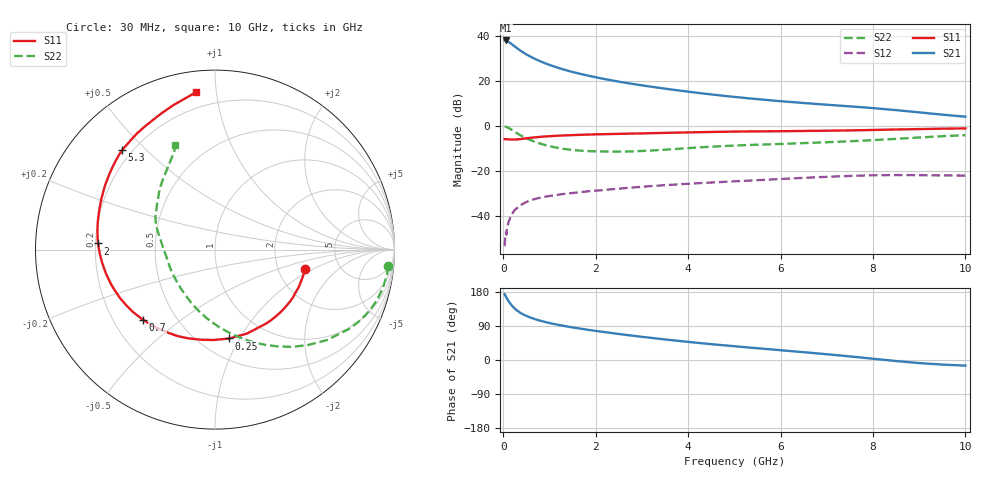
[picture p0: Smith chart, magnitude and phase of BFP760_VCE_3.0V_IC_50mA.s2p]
! Infineon Technologies  Discrete & RF Semiconductors
! BFP760
! VCE =  3.0 V,  IC =  50 mA
! Common Emitter S-Parameters:  Nov 2012
# GHz  S  MA  R  50
!  f  S11  S21  S12  S22
! GHz  MAG  ANG  MAG  ANG  MAG  ANG  MAG  ANG
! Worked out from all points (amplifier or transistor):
!   99 points, 30 MHz to 10 GHz, reference 50 ohm
!   highest |S21| = 38.2 dB at 50 MHz (marker M1)
!   |S21| within 3 dB of that: start of sweep to 271.1 MHz
!   unconditionally stable (mu >= 1): 3.689 GHz to end of sweep
!   at 350 MHz: K = 0.37, MSG = 34.7 dB, |S12| = -35.5 dB
!   at 3.5 GHz: K = 0.99, MSG = 21.5 dB, |S12| = -26.4 dB
!   at 10 GHz: K = 1.05, MAG = 11.7 dB, |S12| = -22.1 dB
!   S11 on the Smith chart (normalised r, x): 30 MHz: 2.81, -0.83; 250 MHz: 0.68, -0.91; 700 MHz: 0.32, -0.37; 2 GHz: 0.21, +0.03; 5.3 GHz: 0.16, +0.42; 10 GHz: 0.11, +0.88
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0.03  0.5106 -12.3  80.81 173.7  0.0021 86.7  0.9667 -5.5
0.05  0.5109 -19.9  80.82 168.8  0.0036 89.0  0.9645 -10.0
0.07  0.5086 -27.6  79.64 164.4  0.0038 81.7  0.9527 -14.7
0.1  0.5064 -38.8  76.67 158.3  0.0062 74.2  0.9269 -21.3
0.14  0.502 -52.1  72.13 151.0  0.0083 71.0  0.8773 -29.1
0.2  0.5006 -69.2  64.99 141.8  0.0113 65.3  0.8014 -39.0
0.25  0.5015 -80.9  59.44 135.7  0.0135 62.9  0.7412 -45.9
0.3  0.5037 -90.9  54.3 130.5  0.0148 59.1  0.6888 -51.9
0.35  0.5089 -99.5  49.79 126.2  0.0167 56.7  0.6414 -57.2
0.45  0.5245 -113.0  42.58 119.3  0.019 52.5  0.5658 -66.6
0.6  0.5472 -128.2  34.78 111.5  0.0222 47.9  0.4819 -78.5
0.7  0.5604 -135.9  30.93 107.3  0.0239 46.2  0.4399 -85.5
0.9  0.5841 -148.1  25.23 100.5  0.0265 42.8  0.3787 -98.3
1.1  0.6015 -157.3  21.23 95.0  0.0286 41.1  0.338 -109.5
1.7  0.6382 -176.1  14.29 82.2  0.034 39.1  0.2808 -136.0
2  0.6527 177.0  12.25 76.8  0.0363 38.5  0.2731 -147.0
3.4  0.6998 153.1  7.043 55.6  0.0473 36.6  0.2927 176.1
5.1  0.7534 134.6  4.354 35.3  0.0592 32.6  0.3707 153.4
5.3  0.7577 133.1  4.158 33.1  0.0607 32.0  0.3772 151.5
6.7  0.7812 123.3  3.147 18.5  0.0715 27.2  0.4237 138.8
8.5  0.8375 106.1  2.264 -2.7  0.0808 15.6  0.5175 121.4
10  0.8855 96.7  1.614 -14.8  0.0789 10.4  0.6257 110.9
